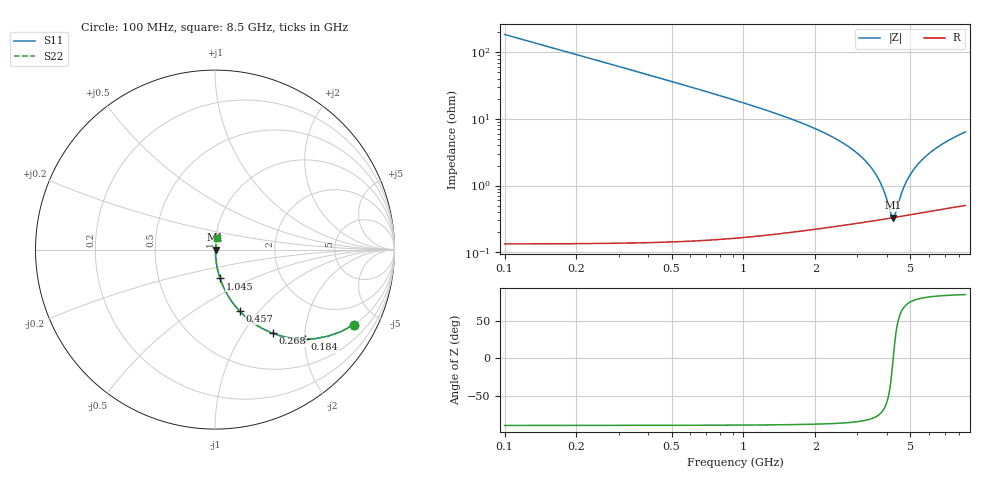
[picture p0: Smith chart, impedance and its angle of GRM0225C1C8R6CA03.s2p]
!Murata Part Number: GRM0225C1C8R6CA03
!These Parameters are Measured in Series Mode Connection
!Data Generated on Mar 30, 2021
!  o--ll--o
!Port1  Port2
!  o------o
!Operation Temp=25[degC], DC Bias Voltage=0[V]
!Freq. Start=100[MHz] Stop=9[GHz] 401[Steps]
# Hz S RI R 50
!Freq.(Hz) S11(Real) S11(Imag) S21(Real) S21(Imag) S12(Real) S12(Imag) S22(Real) S22(Imag)
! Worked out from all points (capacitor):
!   401 points, 100 MHz to 8.5 GHz, reference 50 ohm
!   read as one part in series: C = 8.6 pF near 142 MHz
!   lowest |Z| = 330 mohm at 4.237 GHz (marker M1)
!   series resonance near 4.237 GHz, so ESL is about 160 pH
!   S11 on the Smith chart (normalised r, x): 100 MHz: 1.00, -3.70; 184 MHz: 1.00, -2.01; 268 MHz: 1.00, -1.38; 457 MHz: 1.00, -0.80; 1.045 GHz: 1.00, -0.33; 8.5 GHz: 1.01, +0.13
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1e8  0.7736 -0.4181  0.2264 0.4181  0.2264 0.4181  0.7736 -0.4181
1.84e8  0.5019 -0.4993  0.4981 0.4993  0.4981 0.4993  0.5019 -0.4993
2.68e8  0.3214 -0.466  0.6786 0.466  0.6786 0.466  0.3214 -0.466
3.52e8  0.2147 -0.4093  0.7853 0.4093  0.7853 0.4093  0.2147 -0.4093
4.57e8  0.1388 -0.344  0.8612 0.344  0.8612 0.344  0.1388 -0.344
6.88e8  0.0652 -0.2441  0.9348 0.2441  0.9348 0.2441  0.0652 -0.2441
1.045e9  0.0283 -0.1609  0.9717 0.1609  0.9717 0.1609  0.0283 -0.1609
1.507e9  0.0131 -0.1051  0.9869 0.1051  0.9869 0.1051  0.0131 -0.1051
2.914e9  0.00375 -0.0329  0.9962 0.0329  0.9962 0.0329  0.00375 -0.0329
3.334e9  0.0033 -0.0207  0.9967 0.0207  0.9967 0.0207  0.0033 -0.0207
3.649e9  0.00318 -0.0128  0.9968 0.0128  0.9968 0.0128  0.00318 -0.0128
3.88e9  0.00318 -0.00754  0.9968 0.00754  0.9968 0.00754  0.00318 -0.00754
4.153e9  0.00326 -0.00172  0.9967 0.00172  0.9967 0.00172  0.00326 -0.00172
4.237e9  0.00329 -9e-06  0.9967 9e-06  0.9967 9e-06  0.00329 -9e-06
4.3e9  0.00332 0.00125  0.9967 -0.00125  0.9967 -0.00125  0.00332 0.00125
4.594e9  0.0035 0.00689  0.9965 -0.00689  0.9965 -0.00689  0.0035 0.00689
4.846e9  0.0037 0.0114  0.9963 -0.0114  0.9963 -0.0114  0.0037 0.0114
5.224e9  0.00406 0.0179  0.9959 -0.0179  0.9959 -0.0179  0.00406 0.0179
5.707e9  0.0046 0.0256  0.9954 -0.0256  0.9954 -0.0256  0.0046 0.0256
6.337e9  0.00543 0.0349  0.9946 -0.0349  0.9946 -0.0349  0.00543 0.0349
7.114e9  0.0066 0.0455  0.9934 -0.0455  0.9934 -0.0455  0.0066 0.0455
8.5e9  0.00899 0.0628  0.991 -0.0628  0.991 -0.0628  0.00899 0.0628
